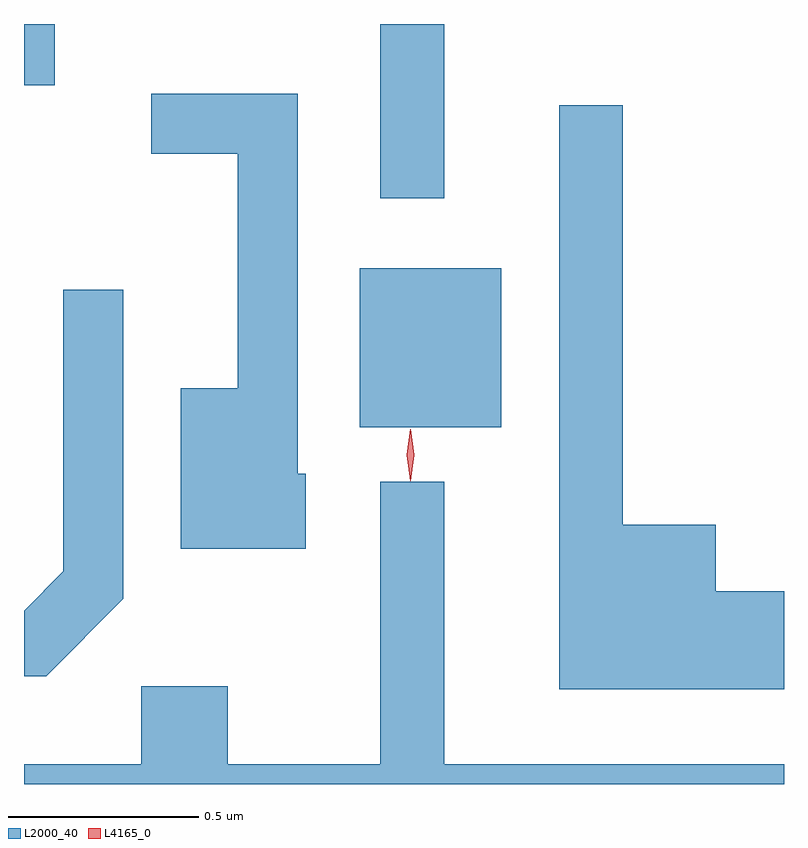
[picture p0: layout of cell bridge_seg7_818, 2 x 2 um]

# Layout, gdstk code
import gdstk
lib = gdstk.Library(unit=1e-6, precision=1e-09)
def R(c, l, rs):  # rectangles x0, y0, x1, y1
    for r in rs: c.add(gdstk.rectangle(r[:2], r[2:], *l))
def P(c, l, *ps):  # polygons
    for p in ps: c.add(gdstk.Polygon(p, *l))
L2000_40 = (2000, 40)
L4165_0 = (4165, 0)

bridge_seg7_818 = lib.new_cell('bridge_seg7_818')
R(bridge_seg7_818, L2000_40, [(383.646,1786.511,384.019,1786.929), (383.701,1787.113,383.869,1787.572), (382.763,1787.411,382.844,1787.572)])
P(bridge_seg7_818, L2000_40, [(383.504,1786.389),(383.484,1786.389),(383.484,1787.389),(383.098,1787.389),(383.098,1787.231),(383.326,1787.231),(383.326,1786.614),(383.176,1786.614),(383.176,1786.191),(383.504,1786.191)],
  [(384.763,1786.079),(384.584,1786.079),(384.584,1786.254),(384.339,1786.254),(384.339,1787.358),(384.171,1787.358),(384.171,1785.821),(384.763,1785.821)],
  [(383.024,1786.059),(383.024,1786.873),(382.866,1786.873),(382.866,1786.132),(382.763,1786.028),(382.763,1785.856),(382.822,1785.856)],
  [(384.763,1785.624),(383.869,1785.624),(383.869,1786.368),(383.701,1786.368),(383.701,1785.624),(383.299,1785.624),(383.299,1785.829),(383.071,1785.829),(383.071,1785.624),(382.763,1785.624),(382.763,1785.572),(384.763,1785.572)])
P(bridge_seg7_818, L4165_0, [(383.78,1786.372),(383.78,1786.373),(383.77,1786.437),(383.78,1786.501),(383.78,1786.502),(383.781,1786.501),(383.79,1786.437),(383.781,1786.373)],
  [(383.78,1786.369),(383.78,1786.37),(383.77,1786.438),(383.78,1786.506),(383.78,1786.506),(383.781,1786.506),(383.79,1786.438),(383.781,1786.37)])

lib.write_gds('bridge_seg7_818.gds')
